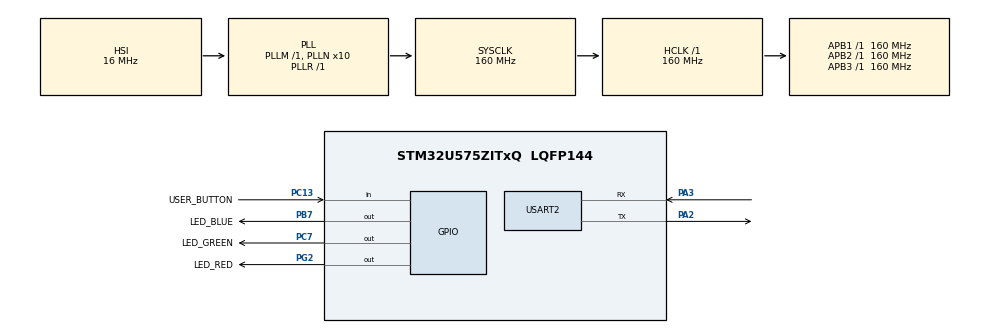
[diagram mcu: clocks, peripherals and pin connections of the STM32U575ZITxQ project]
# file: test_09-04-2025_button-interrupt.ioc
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CORTEX_M33_NS.userName=CORTEX_M33
Mcu.Family=STM32U5
Mcu.Name=STM32U575ZITxQ
Mcu.Package=LQFP144
NVIC.PriorityGroup=NVIC_PRIORITYGROUP_3
NVIC.USART2_IRQn=true\:0\:0\:false\:false\:true\:true\:true\:true
PA10.Signal=USART1_RX
PA13\ (JTMS/SWDIO).Signal=DEBUG_JTMS-SWDIO
PA14\ (JTCK/SWCLK).Signal=DEBUG_JTCK-SWCLK
PA2.GPIO_Speed=GPIO_SPEED_FREQ_HIGH
PA2.Mode=Asynchronous
PA2.Signal=USART2_TX
PA3.GPIO_Speed=GPIO_SPEED_FREQ_HIGH
PA3.Mode=Asynchronous
PA3.Signal=USART2_RX
PA9.Signal=USART1_TX
PB3\ (JTDO/TRACESWO).Signal=DEBUG_JTDO-SWO
PB7.GPIO_FM7=SYSCFG_FASTMODEPLUS_PB7
PB7.GPIO_Label=LED_BLUE
PB7.GPIO_Speed=GPIO_SPEED_FREQ_HIGH
PB7.PinState=GPIO_PIN_RESET
PB7.Signal=GPIO_Output
PC13.GPIO_Label=USER_BUTTON
PC13.Signal=GPIO_Input
PC14-OSC32_IN\ (PC14).Signal=RCC_OSC32_IN
PC15-OSC32_OUT\ (PC15).Signal=RCC_OSC32_OUT
PC7.GPIO_Label=LED_GREEN
PC7.GPIO_Speed=GPIO_SPEED_FREQ_HIGH
PC7.PinState=GPIO_PIN_RESET
PC7.Signal=GPIO_Output
PG2.GPIO_Label=LED_RED
PG2.GPIO_Speed=GPIO_SPEED_FREQ_HIGH
PG2.PinState=GPIO_PIN_RESET
PG2.Signal=GPIO_Output
PWR.PowerMode=PWR_SMPS_SUPPLY
ProjectManager.HeapSize=0x200
ProjectManager.StackSize=0x400
ProjectManager.TargetToolchain=CMake
RCC.ADCFreq_Value=16000000
RCC.AHBFreq_Value=160000000
RCC.APB1Freq_Value=160000000
RCC.APB1TimFreq_Value=160000000
RCC.APB2Freq_Value=160000000
RCC.APB2TimFreq_Value=160000000
RCC.APB3Freq_Value=160000000
RCC.CortexFreq_Value=160000000
RCC.DACCLockSelectionVirtual=RCC_DAC1CLKSOURCE_LSI
RCC.EPOD_VALUE=16000000
RCC.HCLKFreq_Value=160000000
RCC.HSE_VALUE=16000000
RCC.HSI48_VALUE=48000000
RCC.HSI_VALUE=16000000
RCC.LSIDIV_VALUE=32000
RCC.MSIClockRange=RCC_MSIRANGE_0
RCC.MSI_VALUE=48000000
RCC.PLL1R=1
RCC.PLL2FRACN=0
RCC.PLL3FRACN=0
RCC.PLLFRACN=0
RCC.PLLN=10
RCC.PLLSourceVirtual=RCC_PLLSOURCE_HSI
RCC.SYSCLKFreq_VALUE=160000000
RCC.SYSCLKSource=RCC_SYSCLKSOURCE_PLLCLK
RCC.USBFreq_Value=48000000
RCC.VCOOutputFreq_Value=160000000
USART2.VirtualMode-Asynchronous=VM_ASYNC
VP_ICACHE_VS_ENABLE_ICACHE_MEMORY.Mode=Memoryregions
VP_ICACHE_VS_ICACHE.Mode=DirectMappedCache
VP_LPBAMQUEUE_VS_QUEUE.Mode=QUEUEMODE
VP_LPBAM_VS_SIG1.Mode=SmartRun
VP_LPBAM_VS_SIG4.Mode=LPDMA1
VP_MEMORYMAP_VS_MEMORYMAP.Mode=CurAppReg
VP_PWR_VS_DBSignals.Mode=DisableDeadBatterySignals
VP_PWR_VS_LPOM.Mode=PowerOptimisation
VP_PWR_VS_SECSignals.Mode=Security/Privilege
board=NUCLEO-U575ZI-Q

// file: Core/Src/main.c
/* USER CODE BEGIN Header */
/**
  ******************************************************************************
  * @file           : main.c
  * @brief          : Main program body
  ******************************************************************************
  * @attention
  *
  * Copyright (c) 2025 STMicroelectronics.
  * All rights reserved.
  *
  * This software is licensed under terms that can be found in the LICENSE file
  * in the root directory of this software component.
  * If no LICENSE file comes with this software, it is provided AS-IS.
  *
  ******************************************************************************
  */
/* USER CODE END Header */
#include "main.h"

/* USER CODE BEGIN PV */
UART_HandleTypeDef huart2;
/* USER CODE END PV */

void SystemClock_Config(void);
static void SystemPower_Config(void);
static void MX_GPIO_Init(void);
static void MX_ICACHE_Init(void);
static void MX_USART2_UART_Init(void);

int main(void)
{

  /* USER CODE BEGIN 1 */
  __HAL_RCC_GPIOA_CLK_ENABLE();
  __HAL_RCC_GPIOC_CLK_ENABLE();
  __HAL_RCC_GPIOG_CLK_ENABLE();
  __HAL_RCC_GPIOB_CLK_ENABLE();
  GPIO_InitTypeDef Init_BLUE_LED;
  GPIO_InitTypeDef Init_RED_LED;
  GPIO_InitTypeDef Init_GREEN_LED;
  GPIO_InitTypeDef Init_Button;
  /* USER CODE END 1 */

  /* MCU Configuration--------------------------------------------------------*/

  /* Reset of all peripherals, Initializes the Flash interface and the Systick. */
  HAL_Init();

  /* Configure the System Power */
  SystemPower_Config();

  /* Configure the system clock */
  SystemClock_Config();

  /* Initialize all configured peripherals */
  MX_GPIO_Init();
  MX_ICACHE_Init();
  MX_USART2_UART_Init();
  /* USER CODE BEGIN 2 */
  Init_Button.Pin = USER_BUTTON_Pin;
  Init_Button.Mode = GPIO_MODE_INPUT;
  Init_Button.Pull = GPIO_NOPULL;
  Init_Button.Speed = GPIO_SPEED_LOW;
  HAL_GPIO_Init(USER_BUTTON_GPIO_Port, &Init_Button);

  Init_BLUE_LED.Pin = LED_BLUE_Pin;
  Init_BLUE_LED.Mode = GPIO_MODE_OUTPUT_PP;
  Init_BLUE_LED.Pull = GPIO_NOPULL;
  Init_BLUE_LED.Speed = GPIO_SPEED_FREQ_LOW;
  HAL_GPIO_Init(LED_BLUE_GPIO_Port, &Init_BLUE_LED);

  Init_RED_LED.Pin = LED_RED_Pin;
  Init_RED_LED.Mode = GPIO_MODE_OUTPUT_PP;
  Init_RED_LED.Pull = GPIO_NOPULL;
  Init_RED_LED.Speed = GPIO_SPEED_FREQ_HIGH;
  HAL_GPIO_Init(LED_RED_GPIO_Port, &Init_RED_LED);

  Init_GREEN_LED.Pin = LED_GREEN_Pin;
  Init_GREEN_LED.Mode = GPIO_MODE_OUTPUT_PP;
  Init_GREEN_LED.Pull = GPIO_NOPULL;
  Init_GREEN_LED.Speed = GPIO_SPEED_FREQ_HIGH;
  HAL_GPIO_Init(LED_GREEN_GPIO_Port, &Init_GREEN_LED);
  /* USER CODE END 2 */

  /* Infinite loop */
  while (1)
  {

    /* USER CODE BEGIN 3 */

    if(HAL_GPIO_ReadPin(USER_BUTTON_GPIO_Port, USER_BUTTON_Pin)) {
      HAL_GPIO_WritePin(LED_BLUE_GPIO_Port, LED_BLUE_Pin, GPIO_PIN_SET);
      HAL_GPIO_WritePin(LED_RED_GPIO_Port, LED_RED_Pin, GPIO_PIN_SET);
      HAL_GPIO_WritePin(LED_GREEN_GPIO_Port, LED_GREEN_Pin, GPIO_PIN_SET);
    } else {
      HAL_GPIO_WritePin(LED_BLUE_GPIO_Port, LED_BLUE_Pin, GPIO_PIN_RESET);
      HAL_GPIO_WritePin(LED_RED_GPIO_Port, LED_RED_Pin, GPIO_PIN_RESET);
      HAL_GPIO_WritePin(LED_GREEN_GPIO_Port, LED_GREEN_Pin, GPIO_PIN_RESET);
    }
  }
  /* USER CODE END 3 */
}

void SystemClock_Config(void)
{
  RCC_OscInitTypeDef RCC_OscInitStruct = {0};
  RCC_ClkInitTypeDef RCC_ClkInitStruct = {0};

  /** Configure the main internal regulator output voltage
  */
  if (HAL_PWREx_ControlVoltageScaling(PWR_REGULATOR_VOLTAGE_SCALE1) != HAL_OK)
  {
    Error_Handler();
  }

  /** Initializes the CPU, AHB and APB buses clocks
  */
  RCC_OscInitStruct.OscillatorType = RCC_OSCILLATORTYPE_HSI;
  RCC_OscInitStruct.HSIState = RCC_HSI_ON;
  RCC_OscInitStruct.HSICalibrationValue = RCC_HSICALIBRATION_DEFAULT;
  RCC_OscInitStruct.PLL.PLLState = RCC_PLL_ON;
  RCC_OscInitStruct.PLL.PLLSource = RCC_PLLSOURCE_HSI;
  RCC_OscInitStruct.PLL.PLLMBOOST = RCC_PLLMBOOST_DIV1;
  RCC_OscInitStruct.PLL.PLLM = 1;
  RCC_OscInitStruct.PLL.PLLN = 10;
  RCC_OscInitStruct.PLL.PLLP = 2;
  RCC_OscInitStruct.PLL.PLLQ = 2;
  RCC_OscInitStruct.PLL.PLLR = 1;
  RCC_OscInitStruct.PLL.PLLRGE = RCC_PLLVCIRANGE_1;
  RCC_OscInitStruct.PLL.PLLFRACN = 0;
  if (HAL_RCC_OscConfig(&RCC_OscInitStruct) != HAL_OK)
  {
    Error_Handler();
  }

  /** Initializes the CPU, AHB and APB buses clocks
  */
  RCC_ClkInitStruct.ClockType = RCC_CLOCKTYPE_HCLK|RCC_CLOCKTYPE_SYSCLK
                              |RCC_CLOCKTYPE_PCLK1|RCC_CLOCKTYPE_PCLK2
                              |RCC_CLOCKTYPE_PCLK3;
  RCC_ClkInitStruct.SYSCLKSource = RCC_SYSCLKSOURCE_PLLCLK;
  RCC_ClkInitStruct.AHBCLKDivider = RCC_SYSCLK_DIV1;
  RCC_ClkInitStruct.APB1CLKDivider = RCC_HCLK_DIV1;
  RCC_ClkInitStruct.APB2CLKDivider = RCC_HCLK_DIV1;
  RCC_ClkInitStruct.APB3CLKDivider = RCC_HCLK_DIV1;

  if (HAL_RCC_ClockConfig(&RCC_ClkInitStruct, FLASH_LATENCY_4) != HAL_OK)
  {
    Error_Handler();
  }
}

/**
  * @brief Power Configuration
  * @retval None
  */
static void SystemPower_Config(void)
{
  HAL_PWREx_EnableVddIO2();

  /*
   * Disable the internal Pull-Up in Dead Battery pins of UCPD peripheral
   */
  HAL_PWREx_DisableUCPDDeadBattery();

  /*
   * Switch to SMPS regulator instead of LDO
   */
  if (HAL_PWREx_ConfigSupply(PWR_SMPS_SUPPLY) != HAL_OK)
  {
    Error_Handler();
  }
}

static void MX_ICACHE_Init(void)
{

  /** Enable instruction cache in 1-way (direct mapped cache)
  */
  if (HAL_ICACHE_ConfigAssociativityMode(ICACHE_1WAY) != HAL_OK)
  {
    Error_Handler();
  }
  if (HAL_ICACHE_Enable() != HAL_OK)
  {
    Error_Handler();
  }

}

static void MX_USART2_UART_Init(void)
{

  huart2.Instance = USART2;
  huart2.Init.BaudRate = 115200;
  huart2.Init.WordLength = UART_WORDLENGTH_8B;
  huart2.Init.StopBits = UART_STOPBITS_1;
  huart2.Init.Parity = UART_PARITY_NONE;
  huart2.Init.Mode = UART_MODE_TX_RX;
  huart2.Init.HwFlowCtl = UART_HWCONTROL_NONE;
  huart2.Init.OverSampling = UART_OVERSAMPLING_16;
  huart2.Init.OneBitSampling = UART_ONE_BIT_SAMPLE_DISABLE;
  huart2.Init.ClockPrescaler = UART_PRESCALER_DIV1;
  huart2.AdvancedInit.AdvFeatureInit = UART_ADVFEATURE_NO_INIT;
  if (HAL_UART_Init(&huart2) != HAL_OK)
  {
    Error_Handler();
  }
  if (HAL_UARTEx_SetTxFifoThreshold(&huart2, UART_TXFIFO_THRESHOLD_1_8) != HAL_OK)
  {
    Error_Handler();
  }
  if (HAL_UARTEx_SetRxFifoThreshold(&huart2, UART_RXFIFO_THRESHOLD_1_8) != HAL_OK)
  {
    Error_Handler();
  }
  if (HAL_UARTEx_DisableFifoMode(&huart2) != HAL_OK)
  {
    Error_Handler();
  }

}

static void MX_GPIO_Init(void)
{
  GPIO_InitTypeDef GPIO_InitStruct = {0};

  /* GPIO Ports Clock Enable */
  __HAL_RCC_GPIOC_CLK_ENABLE();
  __HAL_RCC_GPIOA_CLK_ENABLE();
  __HAL_RCC_GPIOG_CLK_ENABLE();
  __HAL_RCC_GPIOB_CLK_ENABLE();

  /*Configure GPIO pin Output Level */
  HAL_GPIO_WritePin(LED_RED_GPIO_Port, LED_RED_Pin, GPIO_PIN_RESET);

  /*Configure GPIO pin Output Level */
  HAL_GPIO_WritePin(LED_GREEN_GPIO_Port, LED_GREEN_Pin, GPIO_PIN_RESET);

  /*Configure GPIO pin Output Level */
  HAL_GPIO_WritePin(LED_BLUE_GPIO_Port, LED_BLUE_Pin, GPIO_PIN_RESET);

  /*Configure GPIO pin : USER_BUTTON_Pin */
  GPIO_InitStruct.Pin = USER_BUTTON_Pin;
  GPIO_InitStruct.Mode = GPIO_MODE_INPUT;
  GPIO_InitStruct.Pull = GPIO_NOPULL;
  HAL_GPIO_Init(USER_BUTTON_GPIO_Port, &GPIO_InitStruct);

  /*Configure GPIO pin : LED_RED_Pin */
  GPIO_InitStruct.Pin = LED_RED_Pin;
  GPIO_InitStruct.Mode = GPIO_MODE_OUTPUT_PP;
  GPIO_InitStruct.Pull = GPIO_NOPULL;
  GPIO_InitStruct.Speed = GPIO_SPEED_FREQ_HIGH;
  HAL_GPIO_Init(LED_RED_GPIO_Port, &GPIO_InitStruct);

  /*Configure GPIO pin : LED_GREEN_Pin */
  GPIO_InitStruct.Pin = LED_GREEN_Pin;
  GPIO_InitStruct.Mode = GPIO_MODE_OUTPUT_PP;
  GPIO_InitStruct.Pull = GPIO_NOPULL;
  GPIO_InitStruct.Speed = GPIO_SPEED_FREQ_HIGH;
  HAL_GPIO_Init(LED_GREEN_GPIO_Port, &GPIO_InitStruct);

  /*Configure GPIO pins : PA9 PA10 */
  GPIO_InitStruct.Pin = GPIO_PIN_9|GPIO_PIN_10;
  GPIO_InitStruct.Mode = GPIO_MODE_AF_PP;
  GPIO_InitStruct.Pull = GPIO_NOPULL;
  GPIO_InitStruct.Speed = GPIO_SPEED_FREQ_LOW;
  GPIO_InitStruct.Alternate = GPIO_AF7_USART1;
  HAL_GPIO_Init(GPIOA, &GPIO_InitStruct);

  /*Configure GPIO pin : LED_BLUE_Pin */
  GPIO_InitStruct.Pin = LED_BLUE_Pin;
  GPIO_InitStruct.Mode = GPIO_MODE_OUTPUT_PP;
  GPIO_InitStruct.Pull = GPIO_NOPULL;
  GPIO_InitStruct.Speed = GPIO_SPEED_FREQ_HIGH;
  HAL_GPIO_Init(LED_BLUE_GPIO_Port, &GPIO_InitStruct);

  /**/
  __HAL_SYSCFG_FASTMODEPLUS_ENABLE(SYSCFG_FASTMODEPLUS_PB7);

}

void Error_Handler(void)
{
  __disable_irq();
  while (1)
  {
  }
}
